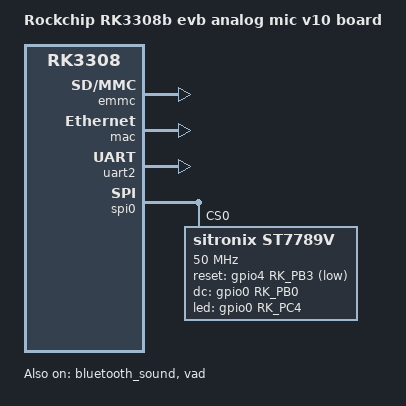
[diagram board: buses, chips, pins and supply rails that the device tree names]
// SPDX-License-Identifier: (GPL-2.0+ OR MIT)
/*
 * Copyright (c) 2018 Fuzhou Rockchip Electronics Co., Ltd
 */

/dts-v1/;

#include "rk3308b-evb-v10.dtsi"

/ {
	model = "Rockchip RK3308b evb analog mic v10 board";
	compatible = "rockchip,rk3308b-evb-amic-v10", "rockchip,rk3308";

	vad_acodec_sound: vad-acodec-sound {
		status = "okay";
		compatible = "rockchip,multicodecs-card";
		rockchip,card-name = "rockchip,rk3308-vad";
		rockchip,codec-hp-det;
		rockchip,mclk-fs = <256>;
		rockchip,cpu = <&i2s_8ch_2>;
		rockchip,codec = <&acodec>, <&vad>;
	};
};

&acodec {
	rockchip,micbias1;
	rockchip,micbias2;
	rockchip,en-always-grps = <1 2 3>;
	rockchip,adc-grps-route = <1 2 3 0>;
};

&acodec_sound {
	status = "disabled";
};

&bluetooth_sound {
	status = "okay";
};

&i2s_8ch_0 {
//	status = "okay";
	status = "disabled";
	#sound-dai-cells = <0>;
	rockchip,clk-trcm = <1>;
	pinctrl-names = "default";
	pinctrl-0 = <&i2s_8ch_0_sclktx
		     &i2s_8ch_0_lrcktx
		     &i2s_8ch_0_sdi0
		     &i2s_8ch_0_sdo2>;
};

&vad {
	status = "okay";
	rockchip,audio-src = <&i2s_8ch_2>;
	rockchip,det-channel = <0>;
	rockchip,buffer-time-ms = <200>;
	rockchip,mode = <1>;
	#sound-dai-cells = <0>;
};

&emmc {
	status = "okay";
};

&mac {
	status = "okay";
};

&uart2 {
	status = "okay";
};

&spi0 {
        pinctrl-names = "default";
        pinctrl-0 = <&spi0_clk &spi0_csn0 &spi0_miso &spi0_mosi>;
        status = "okay";
        spi-max-frequency = <50000000>;

        st7789v: st7789v@0 {
                compatible = "sitronix,st7789v";
                reg = <0>;
                spi-max-frequency = <50000000>;
                rgb;
                buswidth = <8>;
                rotate = <90>;
                fps = <60>;
                spi-cpol;
                spi-cpha;
                reset-gpios = <&gpio4 RK_PB3 GPIO_ACTIVE_LOW>;
                dc-gpios = <&gpio0 RK_PB0 GPIO_ACTIVE_HIGH>;
                led-gpios = <&gpio0 RK_PC4 GPIO_ACTIVE_HIGH>;
                debug = <1>;
        };
};
